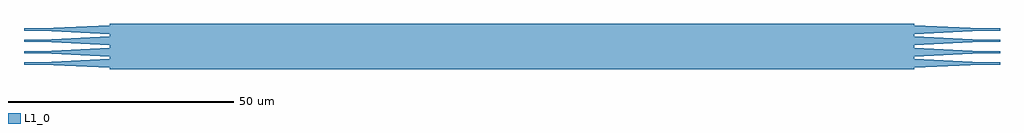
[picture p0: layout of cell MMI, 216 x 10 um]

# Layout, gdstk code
import gdstk
lib = gdstk.Library(unit=1e-6, precision=1e-10)
def R(c, l, rs):  # rectangles x0, y0, x1, y1
    for r in rs: c.add(gdstk.rectangle(r[:2], r[2:], *l))
def A(c, l, x, y, w, h, nx, ny, dx, dy):  # array of equal rectangles
    R(c, l, [(x+i*dx, y+j*dy, x+i*dx+w, y+j*dy+h) for i in range(nx) for j in range(ny)])
def P(c, l, *ps):  # polygons
    for p in ps: c.add(gdstk.Polygon(p, *l))
L1_0 = (1, 0)

mmi = lib.new_cell('MMI')
A(mmi, L1_0, -108, -3.99, 4, 0.48, 1, 4, 0, 2.5)
A(mmi, L1_0, 104, -3.99, 4, 0.48, 1, 4, 0, 2.5)
R(mmi, L1_0, [(-89,-5,89,5)])
P(mmi, L1_0, [(89,2.75),(89,4.75),(104,3.99),(104,3.51)],
  [(89,0.25),(89,2.25),(104,1.49),(104,1.01)],
  [(89,-2.25),(89,-0.25),(104,-1.01),(104,-1.49)],
  [(89,-4.75),(89,-2.75),(104,-3.51),(104,-3.99)],
  [(-89,2.75),(-104,3.51),(-104,3.99),(-89,4.75)],
  [(-89,-4.75),(-104,-3.99),(-104,-3.51),(-89,-2.75)],
  [(-89,-2.25),(-104,-1.49),(-104,-1.01),(-89,-0.25)],
  [(-89,0.25),(-104,1.01),(-104,1.49),(-89,2.25)])

lib.write_gds('MMI.gds')
